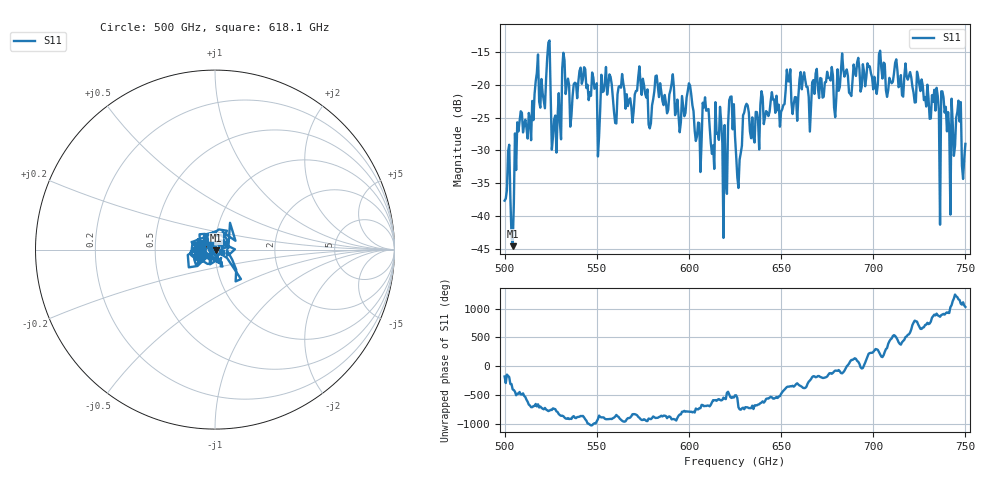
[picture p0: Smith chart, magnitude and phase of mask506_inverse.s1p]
!Created with skrf (http://scikit-rf.org).
# GHz S MA R 50.0
!freq magS11 angS11
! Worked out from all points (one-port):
!   401 points, 500 GHz to 750 GHz, reference 50 ohm
!   lowest |S11| = -44.6 dB at 504.4 GHz (marker M1), VSWR 1.01, Z = 50.4 - j0.391 ohm
!   |S11| at or under -10 dB: start of sweep to end of sweep
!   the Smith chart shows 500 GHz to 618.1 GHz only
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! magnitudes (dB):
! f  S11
! 500 GHz  -37.7
! 504.4 GHz  -44.6
! 508.1 GHz  -25.6
! 523.8 GHz  -13.5
! 526.9 GHz  -25.2
! 531.2 GHz  -17.5
! 548.8 GHz  -20.6
! 550.6 GHz  -30.9
! 562.5 GHz  -20.1
! 593.8 GHz  -22.2
! 600 GHz  -19.7
! 605.6 GHz  -25.8
! 609.4 GHz  -23.9
! 612.5 GHz  -30.5
! 616.9 GHz  -23.3
! 619.4 GHz  -26.1
! 623.1 GHz  -21.8
! 625 GHz  -27.8
! 626.9 GHz  -35.7
! 630.6 GHz  -23.3
! 656.2 GHz  -24.4
! 687.5 GHz  -21.4
! 718.8 GHz  -19.2
! 735 GHz  -21.7
! 738.1 GHz  -21.9
! 743.1 GHz  -25.8
! 746.2 GHz  -22.4
! 750 GHz  -29.0
